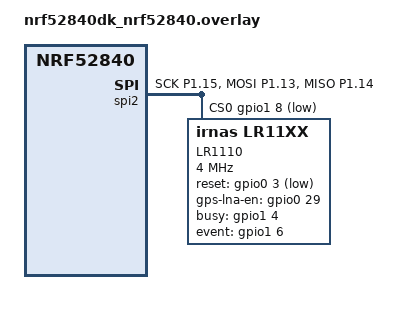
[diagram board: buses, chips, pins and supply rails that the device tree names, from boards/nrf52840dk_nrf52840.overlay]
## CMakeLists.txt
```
# SPDX-License-Identifier: Apache-2.0

cmake_minimum_required(VERSION 3.13.1)

find_package(Zephyr HINTS $ENV{ZEPHYR_BASE})
project(ping_pong)

zephyr_compile_options(-fdiagnostics-color=always)


zephyr_include_directories(.)
add_subdirectory(${CMAKE_CURRENT_SOURCE_DIR}/../common src/common)


target_sources(app PRIVATE src/main.c)
```

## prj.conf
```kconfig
# Enable logging (it need to be disabled for low power)
CONFIG_PRINTK=y
CONFIG_GPIO=y
CONFIG_SERIAL=y
CONFIG_CONSOLE=y
CONFIG_UART_CONSOLE=y
CONFIG_LOG=y
CONFIG_LOG_DEFAULT_LEVEL=0
CONFIG_LOG_BACKEND_UART=y
CONFIG_LOG_PRINTK=y

CONFIG_SPI=y
CONFIG_LR11XX_LIB=y
CONFIG_LR11XX_LOG_LEVEL_WRN=y

CONFIG_PINCTRL=y

CONFIG_TEST_RANDOM_GENERATOR=y

# BT adv and scan
CONFIG_BT=y
CONFIG_BT_BROADCASTER=y
CONFIG_BT_OBSERVER=y
CONFIG_BT_DEBUG_LOG=n
CONFIG_BT_FILTER_ACCEPT_LIST=y
```

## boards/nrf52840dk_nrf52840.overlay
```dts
&spi1 {
    status = "disabled";
};

&spi2 {
    compatible = "nordic,nrf-spi";
    status = "okay";
    pinctrl-0 = <&spi2_default>;
    pinctrl-1 = <&spi2_sleep>;
    pinctrl-names = "default", "sleep";

    cs-gpios = <&gpio1 8 GPIO_ACTIVE_LOW>;
    lr1110: lr1110@0 {
        compatible = "irnas,lr11xx";
        reg = <0>;
        spi-max-frequency = <4000000>;
        label = "LR1110";

        reset-gpios = <&gpio0 3 GPIO_ACTIVE_LOW>;
        gps-lna-en-gpios = <&gpio0 29 0>;
        busy-gpios = <&gpio1 4 GPIO_ACTIVE_HIGH>;
        event-gpios = <&gpio1 6 (GPIO_ACTIVE_HIGH | GPIO_PULL_DOWN) >;

        rf-sw-enable = "DIO5", "DIO6", "DIO7";
        rf-sw-standby-mode = "NONE";
        rf-sw-rx-mode = "DIO5";
        rf-sw-tx-mode = "DIO5", "DIO6";
        rf-sw-tx-hp-mode = "DIO6";
        rf-sw-tx-hf-mode = "NONE";
        rf-sw-wifi-mode = "NONE";
        rf-sw-gnss-mode = "DIO7";
    };
};

&pinctrl {
	spi2_default: spi2_default {
		group1 {
			psels = <NRF_PSEL(SPIM_SCK, 1, 15)>,
			        <NRF_PSEL(SPIM_MOSI, 1, 13)>,
			        <NRF_PSEL(SPIM_MISO, 1, 14)>;
		};
	};

	spi2_sleep: spi2_sleep {
		group1 {
			psels = <NRF_PSEL(SPIM_SCK, 1, 15)>,
			        <NRF_PSEL(SPIM_MOSI, 1, 13)>,
			        <NRF_PSEL(SPIM_MISO, 1, 14)>;
			low-power-enable;
		};
	};
};
```

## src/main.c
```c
#include <stdio.h>
#include <string.h>
#include <stdlib.h>
#include <zephyr/kernel.h>
#include <zephyr/types.h>
#include <zephyr/random/rand32.h>
#include <zephyr/device.h>
#include <zephyr/devicetree.h>

#include <zephyr/bluetooth/bluetooth.h>
#include <zephyr/bluetooth/hci.h>

#include "apps_common.h"
#include "lr11xx_radio.h"
#include "lr11xx_system.h"
#include "lr11xx_system_types.h"
#include "lr11xx_regmem.h"
#include "lr11xx_board.h"

#include <zephyr/logging/log.h>
LOG_MODULE_REGISTER(main);

/*
 * -----------------------------------------------------------------------------
 * --- PRIVATE MACROS-----------------------------------------------------------
 */

#define RX_TIMEOUT_VALUE 600

/**
 * @brief Size of ping-pong message prefix
 *
 * Expressed in bytes
 */
#define PING_PONG_PREFIX_SIZE 6

/**
 * @brief Duration of the wait before packet transmission to assure reception status is ready on the other side
 *
 * Expressed in milliseconds
 */
#define DELAY_BEFORE_TX_MS 20

/**
 * @brief Duration of the wait between each ping-pong activity, can be used to adjust ping-pong speed
 *
 * Expressed in milliseconds
 */
#define DELAY_PING_PONG_PACE_MS 200

/**
 * @brief LR11xx interrupt mask used by the application
 */
#define IRQ_MASK                                                                          \
    ( LR11XX_SYSTEM_IRQ_TX_DONE | LR11XX_SYSTEM_IRQ_RX_DONE | LR11XX_SYSTEM_IRQ_TIMEOUT | \
      LR11XX_SYSTEM_IRQ_HEADER_ERROR | LR11XX_SYSTEM_IRQ_CRC_ERROR | LR11XX_SYSTEM_IRQ_FSK_LEN_ERROR )


/* Two sets of LoRa settings for reception testing */
/* CONFIG_1 */
#define RF_FREQ_IN_HZ_1 868000000U
#define TX_OUTPUT_POWER_DBM_1 10  // range [-17, +22] for sub-G, range [-18, 13] for 2.4G ( HF_PA )
#define LORA_SPREADING_FACTOR_1 LR11XX_RADIO_LORA_SF7
#define LORA_BANDWIDTH_1 LR11XX_RADIO_LORA_BW_125
#define LORA_CODING_RATE_1 LR11XX_RADIO_LORA_CR_4_5

/* CONFIG_2 */
#define RF_FREQ_IN_HZ_2 2400000000U
#define TX_OUTPUT_POWER_DBM_2 10  // range [-17, +22] for sub-G, range [-18, 13] for 2.4G ( HF_PA )
#define LORA_SPREADING_FACTOR_2 LR11XX_RADIO_LORA_SF10
#define LORA_BANDWIDTH_2 LR11XX_RADIO_LORA_BW_400
#define LORA_CODING_RATE_2 LR11XX_RADIO_LORA_CR_4_5

/**
 * @brief BT advertisement name prefix
 *
 */
#define DEVICE_NAME  "Mopper-"

/**
 * @brief Use nordic BT_MANUFACTURER_DATA for test
 *
 */
#define BT_MANUFACTURER_DATA  0x0059

#define BT_SCAN_TIMEOUT 500
/*
 * -----------------------------------------------------------------------------
 * --- PRIVATE CONSTANTS -------------------------------------------------------
 */

#define APP_PARTIAL_SLEEP true

/*
 * -----------------------------------------------------------------------------
 * --- PRIVATE TYPES -----------------------------------------------------------
 */

/* Configuration label */
enum {
    CONFIG_1 = 0,
    CONFIG_2 = 1
};

/**
 * @brief radio config structure, including all configs we weill modify during the example.
 *
 */
typedef struct radio_config {
    lr11xx_board_pa_pwr_cfg_t* pa_pwr_cfg;
    int8_t output_p_dbm;
    uint32_t freq_in_hz;
    lr11xx_radio_mod_params_lora_t radio_mod;
} radio_config;

/*
 * -----------------------------------------------------------------------------
 * --- PRIVATE VARIABLES -------------------------------------------------------
 */

const struct device *context = DEVICE_DT_GET(DT_NODELABEL(lr11xx));

static radio_config config; //LR modifiable config options

static uint8_t buffer_tx[PAYLOAD_LENGTH]; //TX buffer
static uint8_t buffer_rx[PAYLOAD_LENGTH]; //RX buffer
static bool    is_master = true; //Master - slave status
static bool    is_status = false; //Master - slave status set

static uint32_t counter = 0; //Message counter
static int current_config = CONFIG_1; //Current config choice

/* Ping - pong message prefix */
static const uint8_t ping_msg[PING_PONG_PREFIX_SIZE] = "M-PING";
static const uint8_t pong_msg[PING_PONG_PREFIX_SIZE] = "S-PONG";

static const uint8_t prefix_size = ( PING_PONG_PREFIX_SIZE <= PAYLOAD_LENGTH ? PING_PONG_PREFIX_SIZE : PAYLOAD_LENGTH );

/**
 * @brief BT advertisement parameters
 *
 */
static struct bt_le_adv_param *adv_param =
    BT_LE_ADV_PARAM(BT_LE_ADV_OPT_USE_IDENTITY,
                    320,             //(N * 0.625 = 500ms)
                    352,             //(N * 0.625 = 520ms)
                    NULL);

/**
 * @brief BT scan parameters - use list fillter for scanning to only scan for particular device in BT example
 *
 */
struct bt_le_scan_param scan_param = {
		.type       = BT_HCI_LE_SCAN_PASSIVE,
		.options    = BT_LE_SCAN_OPT_FILTER_ACCEPT_LIST | BT_LE_SCAN_OPT_FILTER_DUPLICATE,
		.interval   = 32,  //(N * 0.625 ms)
		.window     = 32,  //(N * 0.625 ms)
	};

static char device_name[13]; //Device BT name

static uint8_t adv_data[6]; //Device adv data

static bt_addr_le_t bt_addr; //Local BT MAC addr
static bt_addr_le_t bt_addr_remote; //Remote BT MAC addr

static bool bt_scan_done = false; //Scan results obtained flag
static bool bt_scan_timeout = false; //BT scan timeout flag
/**
 * @brief Advertisement data structure.
 *
 */
static const struct bt_data ad[] = {
	BT_DATA(BT_DATA_MANUFACTURER_DATA, adv_data, sizeof(adv_data)),
    BT_DATA(BT_DATA_NAME_COMPLETE, device_name, sizeof(device_name))
};


/*
 * -----------------------------------------------------------------------------
 * --- PRIVATE FUNCTIONS DECLARATION -------------------------------------------
 */

/**
 * @brief Handle reception failure for ping-pong example
 */
static void ping_pong_reception_failure_handling( void );

/**
 * @brief Update radio_config config structure with new values based on the configuration choice.
 *
 * @param config_label CONFIG_1 / CONFIG_2
 * @return int - 0 on success or negative error code
 */
static int ping_pong_change_config( int config_label);

/**
 * @brief Change initialisation of some radio parameters,a s set in the radio_config config structure.
 *
 * @return int - 0 on success or negative error code
 */
static int ping_pong_radio_reinit( void );

/*!
 * @brief Interface to read bytes from rx buffer
 *
 * @param [in] context  Pointer to the radio context
 * @param [in] buffer Pointer to a byte array to be filled with content from memory. Its size must be enough to contain
 * at least length bytes
 * @param [in] size Number of bytes to read from memory
 * @param [in] counter_rx  Received message counter
 */
static void ping_pong_lr11xx_receive( const void* context, uint8_t* buffer, uint8_t* size, uint32_t* counter_rx );

/**
 * @brief Initialise BT advertisement
 * Enable and init BT.
 * Construct device name by attaching 3 significant bytes of MAC address to pre-defined name.
 * Initialize advertisement data and start advertising.
 *
 */
static void initialize_bt_adv(void);

/**
 * @brief BT scan cb
 *
 * @param addr
 * @param rssi
 * @param adv_type
 * @param buf
 */
static void scan_cb(const bt_addr_le_t *addr, int8_t rssi, uint8_t adv_type,
		    struct net_buf_simple *buf);

/**
 * @brief timer handler, sets timeout to true when timer expires
 *
 * @param dummy
 */
static void bt_scan_timer_handler(struct k_timer *dummy);

/**
 * @brief Perform BT scan, start timer and wait for result or timeout.
 *
 */
static void ping_pong_wait_on_bt_scan( void );


/**
 * @brief Construct a new k timer define object for bt scan timeout
 *
 */
K_TIMER_DEFINE(bt_scan_timer, bt_scan_timer_handler, NULL);

/*
 * -----------------------------------------------------------------------------
 * --- PUBLIC FUNCTIONS DEFINITION ---------------------------------------------
 */

/**
 * @brief Main application entry point.
 */
void main( void )
{
    LOG_INF( "===== LR11xx IRNAS ping-pong example =====" );

    /* Init BLE adv */
    initialize_bt_adv();

    /* General system init */
    apps_common_lr11xx_system_init( context );

    /* Print LR11xx HW and FW version */
    apps_common_lr11xx_fetch_and_print_version( context );

    /* Start with defout LR configuration as defined for all samples */
    apps_common_lr11xx_radio_init( context );

    /* Set initial config */
    current_config = CONFIG_1;
    ping_pong_change_config(current_config);

    /* Apply config */
    ping_pong_radio_reinit();

    int ret = 0;

    /* Define event trigger mask */
    LOG_INF("Set dio irq mask");
    ret = lr11xx_system_set_dio_irq_params( context, IRQ_MASK, 0 );
    if(ret)
    {
        LOG_ERR("Failed to set dio irq params.");
    }

    /* Clear IRQ status */
    LOG_INF("Clear irq status");
    ret = lr11xx_system_clear_irq_status( context, LR11XX_SYSTEM_IRQ_ALL_MASK );
    if(ret)
    {
        LOG_ERR("Failed to set dio irq params.");
    }

    apps_common_lr11xx_enable_irq(context);

    /* Setup TX buffer  */
    /* Add ping message */
    memcpy( buffer_tx, ping_msg, prefix_size );
    /* Add counter */
    memcpy( buffer_tx+prefix_size, &counter, sizeof(counter) );
    /* Add MAC address */
    memcpy( buffer_tx+prefix_size+sizeof(counter), bt_addr.a.val, 6 );

    /* Write buffer */
    LOG_INF("Write TX buffer");
    ret = lr11xx_regmem_write_buffer8( context, buffer_tx, PAYLOAD_LENGTH );
    if(ret)
    {
        LOG_ERR("Failed to write buffer.");
    }

    /* Set in TX mode */
    LOG_INF("Set TX mode");
    ret = lr11xx_radio_set_tx( context, 0 );
    if(ret)
    {
        LOG_ERR("Failed to set TX mode.");
    }

    /* Remain in the original setting while status is not set yet */
    while(!is_status)
    {
        apps_common_lr11xx_irq_process( context, IRQ_MASK );
        k_sleep(K_MSEC(1));
    }

    LOG_INF("Status set to master: %d", is_master);
    /* Read remote MAC */
    memcpy(bt_addr_remote.a.val, buffer_rx+prefix_size+sizeof(counter), 6 );
    bt_addr_remote.type = 1;
    LOG_INF("Remote MAC addr: %x:%x:%x:%x:%x:%x", bt_addr_remote.a.val[0], bt_addr_remote.a.val[1], bt_addr_remote.a.val[2], bt_addr_remote.a.val[3], bt_addr_remote.a.val[4], bt_addr_remote.a.val[5]);

    const bt_addr_le_t *accept_addr = &bt_addr_remote;
    ret = bt_le_filter_accept_list_add(accept_addr);
    LOG_INF("Added MAC to accept list: %d", ret);

    /* Main loop */
    while( 1 )
    {
        apps_common_lr11xx_irq_process( context, IRQ_MASK );
        k_sleep(K_MSEC(1));
    }
}

void on_tx_done( void )
{
    /* Slave changes config after sending */
    if(!is_master && is_status)
    {
        /* If config is CONFIG_2 perform BT scan first */
        if(current_config == CONFIG_2)
        {
            ping_pong_wait_on_bt_scan();
        }

        /* Change config */
        current_config = (current_config + 1) % 2;
        ping_pong_change_config(current_config);

        /* Apply config */
        ping_pong_radio_reinit();
    }

    k_sleep(K_MSEC( DELAY_PING_PONG_PACE_MS ));

    int ret = lr11xx_radio_set_rx( context, RX_TIMEOUT_VALUE + sys_rand32_get() % 500 );  // Random delay to avoid unwanted synchronization
    if(ret)
    {
        LOG_ERR("Failed to set RX mode.");
    }
}

void on_rx_done( void )
{
    uint8_t size;
    uint32_t rx_count;

    ping_pong_lr11xx_receive( context, buffer_rx, &size, &rx_count );

    if( is_master == true )
    {
        /* Check if we got pong message */
        if( memcmp( buffer_rx, pong_msg, prefix_size ) == 0 )
        {
            /* If status is not determined yet, set it */
            if(!is_status)
            {
                is_status = true;
                /* Read other device MAC */
            }

            /* If config is CONFIG_2 perform BT scan first */
            if(current_config == CONFIG_2)
            {
                ping_pong_wait_on_bt_scan();
            }
            counter++;

            /* Set config */
            current_config = (current_config + 1) % 2;
            ping_pong_change_config(current_config);

            /* Apply config */
            ping_pong_radio_reinit();
        }
        else if( memcmp( buffer_rx, ping_msg, prefix_size ) == 0 )
        {
            /* If status is not determined yet, set it */
            if(!is_status)
            {
                is_status = true;
                is_master = false;
                memcpy( buffer_tx, pong_msg, prefix_size );
            }
            else
            {
                /* Wrong message to receive if we are master with set status - what to do? */
            }
        }
        else
        {
            LOG_ERR( "Unexpected message" );
        }
    }
    else
    {
        if( memcmp( buffer_rx, ping_msg, prefix_size ) == 0 )
        {
            /* If status is not determined yet, set it */
            if(!is_status)
            {
                is_status = true;
            }
            /* In normal operation change setting */
            else
            {
                counter = rx_count;
            }
        }
        else
        {
            LOG_ERR( "Unexpected message" );
        }
    }

    k_sleep(K_MSEC( DELAY_PING_PONG_PACE_MS ));

    k_sleep(K_MSEC( DELAY_BEFORE_TX_MS ));

    memcpy(buffer_tx+prefix_size, &counter, sizeof(counter));

    int ret = lr11xx_regmem_write_buffer8( context, buffer_tx, PAYLOAD_LENGTH );
    if(ret)
    {
        LOG_ERR("Failed to write buffer.");
    }

    ret = lr11xx_radio_set_tx( context, 0 );
    if(ret)
    {
        LOG_ERR("Failed to set TX mode.");
    }
}

void on_rx_timeout( void )
{
    ping_pong_reception_failure_handling( );
}

void on_rx_crc_error( void )
{
    ping_pong_reception_failure_handling( );
}

void on_fsk_len_error( void )
{
    ping_pong_reception_failure_handling( );
}

static void ping_pong_reception_failure_handling( void )
{
    /* Go to original setting */
    current_config = CONFIG_1;
    ping_pong_change_config(current_config);
    ping_pong_radio_reinit();

    //If master, resend message with same count
    if(is_master)
    {
        int ret = lr11xx_regmem_write_buffer8( context, buffer_tx, PAYLOAD_LENGTH );
        if(ret)
        {
            LOG_ERR("Failed to write buffer.");
        }

        ret = lr11xx_radio_set_tx( context, 0 );
        if(ret)
        {
            LOG_ERR("Failed to set TX mode.");
        }
    }
    /* If slave go to reception mode */
    else
    {
        int ret = lr11xx_radio_set_rx( context, RX_TIMEOUT_VALUE + sys_rand32_get() % 500 );  // Random delay to avoid unwanted synchronization
        if(ret)
        {
            LOG_ERR("Failed to set RX mode.");
        }
    }
}

static int ping_pong_change_config( int config_label)
{
    int ret = 0;

    LOG_INF("Change to config: %d", config_label);

    if(config_label == CONFIG_1)
    {
        config.pa_pwr_cfg = (lr11xx_board_pa_pwr_cfg_t*) lr11xx_board_get_pa_pwr_cfg( RF_FREQ_IN_HZ_1, TX_OUTPUT_POWER_DBM_1 );
        config.output_p_dbm = TX_OUTPUT_POWER_DBM_1;
        config.freq_in_hz = RF_FREQ_IN_HZ_1;
        config.radio_mod.sf = LORA_SPREADING_FACTOR_1;
        config.radio_mod.bw = LORA_BANDWIDTH_1;
        config.radio_mod.cr = LORA_CODING_RATE_1;
        config.radio_mod.ldro = apps_common_compute_lora_ldro( LORA_SPREADING_FACTOR_1, LORA_BANDWIDTH_1 );
    }
    else if (config_label == CONFIG_2)
    {
        config.pa_pwr_cfg = (lr11xx_board_pa_pwr_cfg_t*) lr11xx_board_get_pa_pwr_cfg( RF_FREQ_IN_HZ_2, TX_OUTPUT_POWER_DBM_2 );
        config.output_p_dbm = TX_OUTPUT_POWER_DBM_2;
        config.freq_in_hz = RF_FREQ_IN_HZ_2;
        config.radio_mod.sf = LORA_SPREADING_FACTOR_2;
        config.radio_mod.bw = LORA_BANDWIDTH_2;
        config.radio_mod.cr = LORA_CODING_RATE_2;
        config.radio_mod.ldro = apps_common_compute_lora_ldro( LORA_SPREADING_FACTOR_2, LORA_BANDWIDTH_2 );
    }
    else
    {
        ret = -EIO;
    }

    return ret;
}

static int ping_pong_radio_reinit( void )
{
    int ret = 0;

    if( config.pa_pwr_cfg == NULL )
    {
        LOG_ERR( "Invalid target frequency or power level" );
        return -EIO;
    }

    ret = lr11xx_radio_set_rf_freq( context, config.freq_in_hz );
    if(ret)
    {
        LOG_ERR("Failed set RF freq.");
    }

    ret = lr11xx_radio_set_rssi_calibration( context, lr11xx_board_get_rssi_calibration_table( config.freq_in_hz ) );
    if(ret)
    {
        LOG_ERR("Failed set RSSI calibration.");
    }

    ret = lr11xx_radio_set_pa_cfg( context, &( config.pa_pwr_cfg->pa_config ) );
    if(ret)
    {
        LOG_ERR("Failed set PA config.");
    }

    ret = lr11xx_radio_set_lora_mod_params( context, &config.radio_mod);
    if(ret)
    {
        LOG_ERR("Failed set lora mod params.");
    }

    return ret;
}

static void ping_pong_lr11xx_receive( const void* context, uint8_t* buffer, uint8_t* size, uint32_t* rx_count )
{
    lr11xx_radio_rx_buffer_status_t rx_buffer_status;
    lr11xx_radio_pkt_status_lora_t  pkt_status_lora;

    lr11xx_radio_get_rx_buffer_status( context, &rx_buffer_status );
    lr11xx_regmem_read_buffer8( context, buffer, rx_buffer_status.buffer_start_pointer,
                                rx_buffer_status.pld_len_in_bytes );
    *size = rx_buffer_status.pld_len_in_bytes;

    memcpy(rx_count, buffer+prefix_size, sizeof(*rx_count));

    lr11xx_radio_get_lora_pkt_status( context, &pkt_status_lora );

    printk( "{\"type\": \"lr\", \"config_id\": \"%02X\", \"freq\": %u, \"P\": %i, \"SF\": \"%02X\", \"BW\": \"%02X\", \"CR\": \"%02X\", \"RSSI\": %i, \"S_RSSI\": %i, \"SNR\": %i, \"count\": %d}\n",
                                                                                                     current_config,
                                                                                                     config.freq_in_hz,
                                                                                                     config.output_p_dbm,
                                                                                                     config.radio_mod.sf,
                                                                                                     config.radio_mod.bw,
                                                                                                     config.radio_mod.cr,
                                                                                                     pkt_status_lora.rssi_pkt_in_dbm,
                                                                                                     pkt_status_lora.signal_rssi_pkt_in_dbm,
                                                                                                     pkt_status_lora.snr_pkt_in_db,
                                                                                                     *rx_count);
}

static void initialize_bt_adv(void)
{
    int err;

	/* Initialize the Bluetooth Subsystem */
	err = bt_enable(NULL);
	if (err) {
		LOG_ERR("Bluetooth init failed (err %d)", err);
		return;
	}

    /* Init device name */
    const char _name[] = DEVICE_NAME;
    uint8_t name_idx = 0;
    for (int i = 0; i < sizeof(DEVICE_NAME) - 1; i++)
    {
        device_name[i] = _name[i];
        name_idx++;
    }
    // Get advertisement mac address
    size_t count = 6;
    bt_id_get(&bt_addr, &count);
    LOG_INF("MAC addr: %x:%x:%x:%x:%x:%x", bt_addr.a.val[0], bt_addr.a.val[1], bt_addr.a.val[2], bt_addr.a.val[3], bt_addr.a.val[4], bt_addr.a.val[5]);

    for (int i = 2; i >=0 ; i--)
    {
        char tmp[3];
        sprintf(&tmp[0], "%02x", bt_addr.a.val[i]);
        device_name[name_idx] = tmp[0];
        name_idx++;
        device_name[name_idx] = tmp[1];
        name_idx++;
    }

    /* Init adv data */
    adv_data[0] = BT_MANUFACTURER_DATA & 0x00ff;
    adv_data[1] = BT_MANUFACTURER_DATA >> 8;

    /* Start advertising */
    err = bt_le_adv_start(adv_param, ad, ARRAY_SIZE(ad), NULL, 0);
    if (err) {
        LOG_ERR("Advertising failed to start (err %d)\n", err);
        return;
    }
}

static void scan_cb(const bt_addr_le_t *addr, int8_t rssi, uint8_t adv_type,
		    struct net_buf_simple *buf)
{
	counter++;
    LOG_INF("BT scan MAC: %x:%x:%x:%x:%x:%x rssi: %d", addr->a.val[0], addr->a.val[1], addr->a.val[2], addr->a.val[3], addr->a.val[4], addr->a.val[5], rssi);
    printk( "{\"type\": \"bt\",  \"RSSI\": %i, \"count\": %d}\n", rssi, counter);

    bt_le_scan_stop();
    bt_scan_done = true;
}

static void bt_scan_timer_handler(struct k_timer *dummy)
{
    bt_scan_timeout = true;
}

static void ping_pong_wait_on_bt_scan( void )
{
    bt_scan_timeout = false;
    bt_scan_done = false;
    k_timer_start(&bt_scan_timer, K_MSEC(BT_SCAN_TIMEOUT), K_NO_WAIT);

    bt_le_scan_start(&scan_param, scan_cb);

    while(!bt_scan_done && !bt_scan_timeout)
    {
        k_sleep(K_MSEC(1));
    }

    if(bt_scan_timeout)
    {
        bt_le_scan_stop();
        LOG_INF("BT scan timeout");
    }

    k_timer_stop(&bt_scan_timer);
}
```
